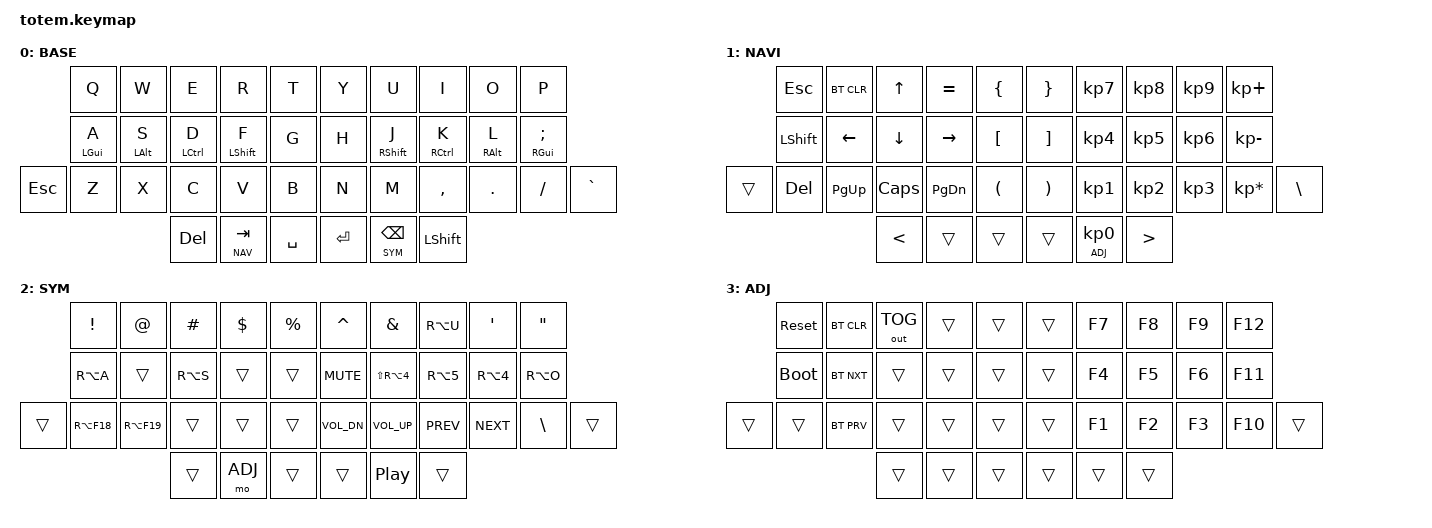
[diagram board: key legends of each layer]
//
//                                                        ▀▀▀▀▀     ▀▀▀▀▀          ▀▀█▀▀
//                                                        ▄▀▀▀▄  ▄  ▄▀▀▀▄  ▄  ▄▀▀▀▄  █  ▄▀▀▀▄
//                                                        █   █  █  █   █  █  █   █  █  █   █
//                                                         ▀▀▀   █   ▀▀▀   █   ▀▀▀   ▀   ▀▀▀
//                                                               █      ▄▄▄█▄▄▄    █   █  
//                                                               ▀      █  █  █     █▄█
//                                                             ▀▀▀▀▀    █  █  █      ▀
//                                                                      ▀  ▀  ▀
//
// ▄▄▄▄▄▄▄▄▄▄▄▄▄▄▄▄▄▄▄▄▄▄▄▄▄▄▄▄▄▄▄▄▄▄▄▄▄▄▄▄▄▄▄▄▄▄▄▄▄▄▄▄▄▄▄▄▄▄▄▄▄▄▄▄▄▄▄▄▄▄▄▄▄▄▄▄▄▄▄▄▄▄▄▄▄▄▄▄▄▄▄▄▄▄▄▄▄▄▄▄▄▄▄▄▄▄▄▄▄▄▄▄▄▄▄▄▄▄▄▄▄▄▄▄▄▄▄▄▄▄▄▄▄▄▄▄▄▄▄▄▄▄▄▄▄▄▄▄▄

#include <behaviors.dtsi>
#include <dt-bindings/zmk/bt.h>
#include <dt-bindings/zmk/keys.h>
#include <dt-bindings/zmk/outputs.h>

#define BASE 0
#define NAV  1
#define SYM  2
#define ADJ  3

// Key position labels for 38-key layout (Totem)
// ╭─────────────────────╮ ╭─────────────────────╮
// │  0  1  2  3  4      │ │      5  6  7  8  9  │  top row
// │ 10 11 12 13 14      │ │     15 16 17 18 19  │  middle row (homerow)
// │ 20 21 22 23 24 25   │ │   26 27 28 29 30 31 │  bottom row
// ╰───────╮ 32 33 34    │ │    35 36 37 ╭───────╯  thumb row
//         ╰─────────────╯ ╰─────────────╯
// Key positions are inlined in the hold-trigger-key-positions below
// Old &mt override removed - using custom hml/hmr behaviors for homerow mods

/ {
    combos {
        compatible = "zmk,combos";

        combo_esc {
            timeout-ms = <50>;
            key-positions = <0 1>;
            bindings = <&kp ESC>;
        };

        combo_equal {
            bindings = <&kp KP_EQUAL>;
            key-positions = <26 16>;
        };

        combo_apostrophe {
            bindings = <&kp APOSTROPHE>;
            key-positions = <16 17>;
        };

        combo_speechmark {
            bindings = <&kp DOUBLE_QUOTES>;
            key-positions = <15 6>;
        };
         
        combo_tilde {
            bindings = <&kp TILDE>;
            key-positions = <30 31>;
        };
        
        combo_underscore {
            bindings = <&kp UNDERSCORE>;
            key-positions = <7 8>;
        };
    };

    behaviors {
        // Timeless homerow mods for left hand

        hml: homerow_mods_left {
            compatible = "zmk,behavior-hold-tap";
            label = "HML";
            #binding-cells = <2>;
            flavor = "balanced";
            tapping-term-ms = <280>;
            quick-tap-ms = <175>;                // repeat on tap-into-hold
            require-prior-idle-ms = <150>;       // requires idle time before activation
            bindings = <&kp>, <&kp>;

            hold-trigger-key-positions = <5 6 7 8 9 15 16 17 18 19 26 27 28 29 30 31 32 33 34 35 36 37>;  // right hand + thumbs
            hold-trigger-on-release;             // delay positional check until key release
        };

        // Timeless homerow mods for right hand

        hmr: homerow_mods_right {
            compatible = "zmk,behavior-hold-tap";
            label = "HMR";
            #binding-cells = <2>;
            flavor = "balanced";
            tapping-term-ms = <280>;
            quick-tap-ms = <175>;
            require-prior-idle-ms = <150>;
            bindings = <&kp>, <&kp>;

            hold-trigger-key-positions = <0 1 2 3 4 10 11 12 13 14 20 21 22 23 24 25 32 33 34 35 36 37>;  // left hand + thumbs
            hold-trigger-on-release;
        };
    };


    keymap {
        compatible = "zmk,keymap";

        // ▄▄▄▄▄▄▄▄▄▄▄▄▄▄▄▄▄▄▄▄▄▄▄▄▄▄▄▄▄▄▄▄▄▄▄▄▄▄▄▄▄▄▄▄▄▄▄▄▄▄▄▄▄▄▄▄▄▄▄▄▄▄▄▄▄▄▄▄▄▄▄▄▄▄▄▄▄▄▄▄▄▄▄▄▄▄▄▄▄▄▄▄▄▄▄▄▄▄▄▄▄▄▄▄▄▄▄▄▄▄▄▄▄▄▄▄▄▄▄▄▄▄▄▄▄▄▄▄▄▄▄▄▄▄▄▄▄▄▄▄▄▄▄▄▄▄▄▄▄

        base_layer {
            // ┏━━━━━━━━━━━━━━━━━━━━━━━━━━━━━━━━━━━━━━━┓

            label = "BASE";

            // ┗━━━━━━━━━━━━━━━━━━━━━━━━━━━━━━━━━━━━━━━┛
            //             ┏━━━━━━━━━━━┳━━━━━━━━━━━┳━━━━━━━━━━━┳━━━━━━━━━━━┳━━━━━━━━━━━┓   ┏━━━━━━━━━━━┳━━━━━━━━━━━┳━━━━━━━━━━━┳━━━━━━━━━━━┳━━━━━━━━━━━┓
            //             ┃     Q     ┃     W     ┃     E     ┃     R     ┃     T     ┃   ┃     Y     ┃     U     ┃     I     ┃     O     ┃     P     ┃
            //             ┣━━━━━━━━━━━╋━━━━━━━━━━━╋━━━━━━━━━━━╋━━━━━━━━━━━╋━━━━━━━━━━━┫   ┣━━━━━━━━━━━╋━━━━━━━━━━━╋━━━━━━━━━━━╋━━━━━━━━━━━╋━━━━━━━━━━━┫
            //             ┃     A     ┃     S     ┃     D     ┃     F     ┃     G     ┃   ┃     H     ┃     J     ┃     K     ┃     L     ┃     ;     ┃
            // ┏━━━━━━━━━━━╋━━━━━━━━━━━╋━━━━━━━━━━━╋━━━━━━━━━━━╋━━━━━━━━━━━╋━━━━━━━━━━━┫   ┣━━━━━━━━━━━╋━━━━━━━━━━━╋━━━━━━━━━━━╋━━━━━━━━━━━╋━━━━━━━━━━━╋━━━━━━━━━━━┓
            // ┃    ESC    ┃     Z     ┃     X     ┃     C     ┃     V     ┃     B     ┃   ┃     N     ┃     M     ┃     ,     ┃     .     ┃     /     ┃     `     ┃
            // ┗━━━━━━━━━━━┻━━━━━━━━━━━┻━━━━━━━━━━━╋━━━━━━━━━━━╋━━━━━━━━━━━╋━━━━━━━━━━━┫   ┣━━━━━━━━━━━╋━━━━━━━━━━━╋━━━━━━━━━━━╋━━━━━━━━━━━┻━━━━━━━━━━━┻━━━━━━━━━━━┛
            //                                     ┃    DEL    ┃    TAB    ┃    SPC    ┃   ┃   ENTER   ┃   BSPC    ┃   LSHFT   ┃
            //                                     ┗━━━━━━━━━━━┻━━━━━━━━━━━┻━━━━━━━━━━━┛   ┗━━━━━━━━━━━┻━━━━━━━━━━━┻━━━━━━━━━━━┛

            bindings = <
         &kp Q        &kp W        &kp E         &kp R         &kp T        &kp Y    &kp U         &kp I          &kp O        &kp P
         &hml LGUI A  &hml LALT S  &hml LCTRL D  &hml LSHFT F  &kp G        &kp H    &hmr RSHFT J  &hmr RCTRL K   &hmr RALT L  &hmr RGUI SEMI
&kp ESC  &kp Z        &kp X        &kp C         &kp V         &kp B        &kp N    &kp M         &kp COMMA      &kp DOT      &kp FSLH        &kp GRAVE
                                   &kp DEL       &lt NAV TAB   &kp SPACE    &kp RET  &lt SYM BSPC      &kp LSHFT
            >;
        };

        // ▄▄▄▄▄▄▄▄▄▄▄▄▄▄▄▄▄▄▄▄▄▄▄▄▄▄▄▄▄▄▄▄▄▄▄▄▄▄▄▄▄▄▄▄▄▄▄▄▄▄▄▄▄▄▄▄▄▄▄▄▄▄▄▄▄▄▄▄▄▄▄▄▄▄▄▄▄▄▄▄▄▄▄▄▄▄▄▄▄▄▄▄▄▄▄▄▄▄▄▄▄▄▄▄▄▄▄▄▄▄▄▄▄▄▄▄▄▄▄▄▄▄▄▄▄▄▄▄▄▄▄▄▄▄▄▄▄▄▄▄▄▄▄▄▄▄▄▄▄

        nav_layer {
            // ┏━━━━━━━━━━━━━━━━━━━━━━━━━━━━━━━━━━━━━━━┓

            label = "NAVI";

            // ┗━━━━━━━━━━━━━━━━━━━━━━━━━━━━━━━━━━━━━━━┛
            //             ┏━━━━━━━━━━━┳━━━━━━━━━━━┳━━━━━━━━━━━┳━━━━━━━━━━━┳━━━━━━━━━━━┓   ┏━━━━━━━━━━━┳━━━━━━━━━━━┳━━━━━━━━━━━┳━━━━━━━━━━━┳━━━━━━━━━━━┓
            //             ┃           ┃           ┃     UP    ┃           ┃     {     ┃   ┃     }     ┃     7     ┃     8     ┃     9     ┃     +     ┃
            //             ┣━━━━━━━━━━━╋━━━━━━━━━━━╋━━━━━━━━━━━╋━━━━━━━━━━━╋━━━━━━━━━━━┫   ┣━━━━━━━━━━━╋━━━━━━━━━━━╋━━━━━━━━━━━╋━━━━━━━━━━━╋━━━━━━━━━━━┫
            //             ┃   SHIFT   ┃   LEFT    ┃    DOWN   ┃   RIGHT   ┃     [     ┃   ┃     ]     ┃     4     ┃     5     ┃     6     ┃     -     ┃
            // ┏━━━━━━━━━━━╋━━━━━━━━━━━╋━━━━━━━━━━━╋━━━━━━━━━━━╋━━━━━━━━━━━╋━━━━━━━━━━━┫   ┣━━━━━━━━━━━╋━━━━━━━━━━━╋━━━━━━━━━━━╋━━━━━━━━━━━╋━━━━━━━━━━━╋━━━━━━━━━━━┓
            // ┃           ┃           ┃   P UP    ┃  C LOCK   ┃  P DOWN   ┃     (     ┃   ┃     )     ┃     1     ┃     2     ┃     3     ┃     *     ┃       \   ┃
            // ┗━━━━━━━━━━━┻━━━━━━━━━━━┻━━━━━━━━━━━╋━━━━━━━━━━━╋━━━━━━━━━━━╋━━━━━━━━━━━┫   ┣━━━━━━━━━━━╋━━━━━━━━━━━╋━━━━━━━━━━━╋━━━━━━━━━━━┻━━━━━━━━━━━┻━━━━━━━━━━━┛
            //                                     ┃     <     ┃    TAB    ┃    SPC    ┃   ┃    DEL    ┃     0     ┃      >    ┃
            //                                     ┗━━━━━━━━━━━┻━━━━━━━━━━━┻━━━━━━━━━━━┛   ┗━━━━━━━━━━━┻━━━━━━━━━━━┻━━━━━━━━━━━┛

            bindings = <
        &kp ESC    &bt BT_CLR  &kp UP    &kp EQUAL  &kp LBRC    &kp RBRC  &kp KP_N7  &kp KP_N8  &kp KP_N9  &kp KP_PLUS
        &kp LSHFT  &kp LEFT    &kp DOWN  &kp RIGHT  &kp LBKT    &kp RBKT  &kp KP_N4  &kp KP_N5  &kp KP_N6  &kp KP_MINUS
&trans  &kp DEL    &kp PG_UP   &kp CAPS  &kp PG_DN  &kp LPAR    &kp RPAR  &kp KP_N1  &kp KP_N2  &kp KP_N3  &kp KP_MULTIPLY  &kp BSLH
                               &kp LT    &trans     &trans      &trans    &lt ADJ KP_N0  &kp GT
            >;
        };

        // ▄▄▄▄▄▄▄▄▄▄▄▄▄▄▄▄▄▄▄▄▄▄▄▄▄▄▄▄▄▄▄▄▄▄▄▄▄▄▄▄▄▄▄▄▄▄▄▄▄▄▄▄▄▄▄▄▄▄▄▄▄▄▄▄▄▄▄▄▄▄▄▄▄▄▄▄▄▄▄▄▄▄▄▄▄▄▄▄▄▄▄▄▄▄▄▄▄▄▄▄▄▄▄▄▄▄▄▄▄▄▄▄▄▄▄▄▄▄▄▄▄▄▄▄▄▄▄▄▄▄▄▄▄▄▄▄▄▄▄▄▄▄▄▄▄▄▄▄▄

        sim_layer {
            // ┏━━━━━━━━━━━━━━━━━━━━━━━━━━━━━━━━━━━━━━━┓

            label = "SYM";

            // ┗━━━━━━━━━━━━━━━━━━━━━━━━━━━━━━━━━━━━━━━┛
            //             ┏━━━━━━━━━━━┳━━━━━━━━━━━┳━━━━━━━━━━━┳━━━━━━━━━━━┳━━━━━━━━━━━┓   ┏━━━━━━━━━━━┳━━━━━━━━━━━┳━━━━━━━━━━━┳━━━━━━━━━━━┳━━━━━━━━━━━┓
            //             ┃     !     ┃     @     ┃     #     ┃     $     ┃     %     ┃   ┃     ˆ     ┃     &     ┃     Ü     ┃     '     ┃     "     ┃
            //             ┣━━━━━━━━━━━╋━━━━━━━━━━━╋━━━━━━━━━━━╋━━━━━━━━━━━╋━━━━━━━━━━━┫   ┣━━━━━━━━━━━╋━━━━━━━━━━━╋━━━━━━━━━━━╋━━━━━━━━━━━╋━━━━━━━━━━━┫
            //             ┃     Ä     ┃           ┃    SZ     ┃           ┃           ┃   ┃   MUTE    ┃   YEN     ┃   EURO    ┃  POUND    ┃     Ö     ┃
            // ┏━━━━━━━━━━━╋━━━━━━━━━━━╋━━━━━━━━━━━╋━━━━━━━━━━━╋━━━━━━━━━━━╋━━━━━━━━━━━┫   ┣━━━━━━━━━━━╋━━━━━━━━━━━╋━━━━━━━━━━━╋━━━━━━━━━━━╋━━━━━━━━━━━╋━━━━━━━━━━━┓
            // ┃           ┃  EMAIL1   ┃  EMAIL2   ┃           ┃           ┃           ┃   ┃   VOL-    ┃   VOL+    ┃   LAST    ┃   NEXT    ┃     \     ┃           ┃
            // ┗━━━━━━━━━━━┻━━━━━━━━━━━┻━━━━━━━━━━━╋━━━━━━━━━━━╋━━━━━━━━━━━╋━━━━━━━━━━━┫   ┣━━━━━━━━━━━╋━━━━━━━━━━━╋━━━━━━━━━━━╋━━━━━━━━━━━┻━━━━━━━━━━━┻━━━━━━━━━━━┛
            //                                     ┃           ┃    GIF    ┃    ADJ    ┃   ┃           ┃           ┃           ┃
            //                                     ┗━━━━━━━━━━━┻━━━━━━━━━━━┻━━━━━━━━━━━┛   ┗━━━━━━━━━━━┻━━━━━━━━━━━┻━━━━━━━━━━━┛

            bindings = <
        &kp EXCL     &kp AT       &kp HASH   &kp DLLR  &kp PRCNT    &kp CARET     &kp AMPS        &kp RA(U)   &kp SQT     &kp DQT
        &kp RA(A)    &trans       &kp RA(S)  &trans    &trans       &kp C_MUTE    &kp LS(RA(N4))  &kp RA(N5)  &kp RA(N4)  &kp RA(O)
&trans  &kp RA(F18)  &kp RA(F19)  &trans     &trans    &trans       &kp C_VOL_DN  &kp C_VOL_UP    &kp C_PREV  &kp C_NEXT  &kp BSLH   &trans
                                  &trans     &mo ADJ   &trans       &trans        &kp C_PP        &trans
            >;
        };

        // ▄▄▄▄▄▄▄▄▄▄▄▄▄▄▄▄▄▄▄▄▄▄▄▄▄▄▄▄▄▄▄▄▄▄▄▄▄▄▄▄▄▄▄▄▄▄▄▄▄▄▄▄▄▄▄▄▄▄▄▄▄▄▄▄▄▄▄▄▄▄▄▄▄▄▄▄▄▄▄▄▄▄▄▄▄▄▄▄▄▄▄▄▄▄▄▄▄▄▄▄▄▄▄▄▄▄▄▄▄▄▄▄▄▄▄▄▄▄▄▄▄▄▄▄▄▄▄▄▄▄▄▄▄▄▄▄▄▄▄▄▄▄▄▄▄▄▄▄▄

        adjust_layer {
            // ┏━━━━━━━━━━━━━━━━━━━━━━━━━━━━━━━━━━━━━━━┓

            label = "ADJ";

            // ┗━━━━━━━━━━━━━━━━━━━━━━━━━━━━━━━━━━━━━━━┛
            //             ┏━━━━━━━━━━━┳━━━━━━━━━━━┳━━━━━━━━━━━┳━━━━━━━━━━━┳━━━━━━━━━━━┓   ┏━━━━━━━━━━━┳━━━━━━━━━━━┳━━━━━━━━━━━┳━━━━━━━━━━━┳━━━━━━━━━━━┓
            //             ┃   RESET   ┃ BT CLEAR  ┃  OUT TOG  ┃           ┃           ┃   ┃           ┃    F7     ┃    F8     ┃    F9     ┃    F12    ┃
            //             ┣━━━━━━━━━━━╋━━━━━━━━━━━╋━━━━━━━━━━━╋━━━━━━━━━━━╋━━━━━━━━━━━┫   ┣━━━━━━━━━━━╋━━━━━━━━━━━╋━━━━━━━━━━━╋━━━━━━━━━━━╋━━━━━━━━━━━┫
            //             ┃ BOOTLOAD  ┃ BT NEXT   ┃           ┃           ┃           ┃   ┃           ┃    F4     ┃    F5     ┃    F6     ┃    F11    ┃
            // ┏━━━━━━━━━━━╋━━━━━━━━━━━╋━━━━━━━━━━━╋━━━━━━━━━━━╋━━━━━━━━━━━╋━━━━━━━━━━━┫   ┣━━━━━━━━━━━╋━━━━━━━━━━━╋━━━━━━━━━━━╋━━━━━━━━━━━╋━━━━━━━━━━━╋━━━━━━━━━━━┓
            // ┃           ┃           ┃ BT PREV   ┃           ┃           ┃           ┃   ┃           ┃    F1     ┃    F2     ┃    F3     ┃    F10    ┃           ┃
            // ┗━━━━━━━━━━━┻━━━━━━━━━━━┻━━━━━━━━━━━╋━━━━━━━━━━━╋━━━━━━━━━━━╋━━━━━━━━━━━┫   ┣━━━━━━━━━━━╋━━━━━━━━━━━╋━━━━━━━━━━━╋━━━━━━━━━━━┻━━━━━━━━━━━┻━━━━━━━━━━━┛
            //                                     ┃           ┃           ┃           ┃   ┃           ┃           ┃           ┃
            //                                     ┗━━━━━━━━━━━┻━━━━━━━━━━━┻━━━━━━━━━━━┛   ┗━━━━━━━━━━━┻━━━━━━━━━━━┻━━━━━━━━━━━┛

            bindings = <
        &sys_reset   &bt BT_CLR  &out OUT_TOG  &trans  &trans    &trans  &kp F7  &kp F8  &kp F9  &kp F12
        &bootloader  &bt BT_NXT  &trans        &trans  &trans    &trans  &kp F4  &kp F5  &kp F6  &kp F11
&trans  &trans       &bt BT_PRV  &trans        &trans  &trans    &trans  &kp F1  &kp F2  &kp F3  &kp F10  &trans
                                 &trans        &trans  &trans    &trans  &trans  &trans
            >;
        };
    };
};
